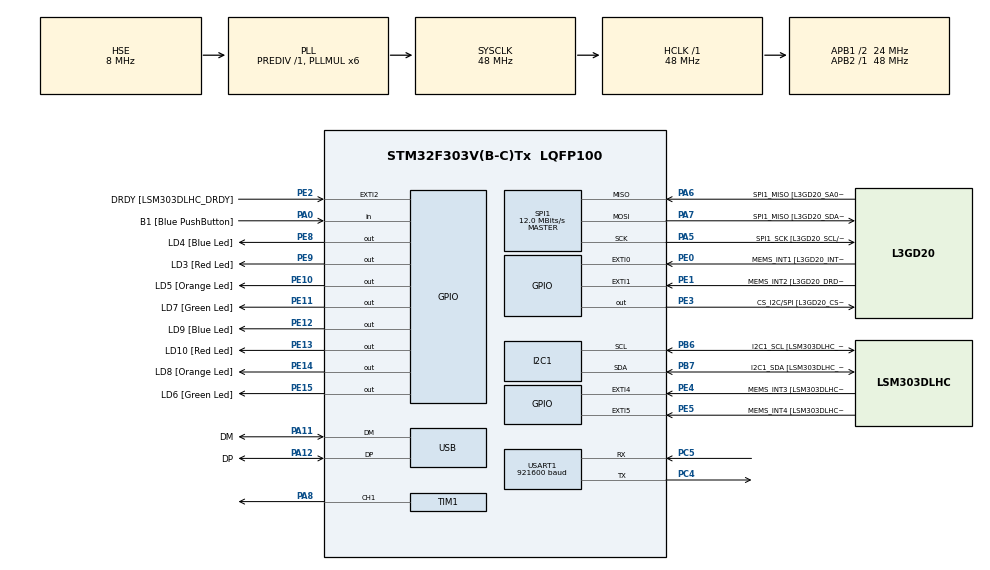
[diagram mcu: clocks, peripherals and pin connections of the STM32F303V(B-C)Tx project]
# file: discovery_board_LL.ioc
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I2C1.Timing=0x2000090E
I2C1.Timing-I2C=0x2000090E
Mcu.Family=STM32F3
Mcu.Name=STM32F303V(B-C)Tx
Mcu.Package=LQFP100
NVIC.PriorityGroup=NVIC_PRIORITYGROUP_0
PA0.GPIO_Label=B1 [Blue PushButton]
PA0.Signal=GPIO_Input
PA11.GPIO_Label=DM
PA11.Mode=Device
PA11.Signal=USB_DM
PA12.GPIO_Label=DP
PA12.Mode=Device
PA12.Signal=USB_DP
PA13.GPIO_Label=SWDIO
PA13.Mode=Serial_Wire
PA13.Signal=SYS_JTMS-SWDIO
PA14.GPIO_Label=SWCLK
PA14.Mode=Serial_Wire
PA14.Signal=SYS_JTCK-SWCLK
PA5.GPIO_Label=SPI1_SCK [L3GD20_SCL/SPC]
PA5.Mode=Full_Duplex_Master
PA5.Signal=SPI1_SCK
PA6.GPIO_Label=SPI1_MISO [L3GD20_SA0/SDO]
PA6.Mode=Full_Duplex_Master
PA6.Signal=SPI1_MISO
PA7.GPIO_Label=SPI1_MISO [L3GD20_SDA/SDI/SDO]
PA7.Mode=Full_Duplex_Master
PA7.Signal=SPI1_MOSI
PA8.Signal=S_TIM1_CH1
PB3.GPIO_Label=SWO
PB3.Signal=SYS_JTDO-TRACESWO
PB6.GPIO_Label=I2C1_SCL [LSM303DLHC_SCL]
PB6.GPIO_Pu=GPIO_PULLUP
PB6.Mode=I2C
PB6.Signal=I2C1_SCL
PB7.GPIO_Label=I2C1_SDA [LSM303DLHC_SDA]
PB7.GPIO_Pu=GPIO_PULLUP
PB7.Mode=I2C
PB7.Signal=I2C1_SDA
PC14-OSC32_IN.GPIO_Label=OSC32_IN
PC14-OSC32_IN.Signal=RCC_OSC32_IN
PC15-OSC32_OUT.GPIO_Label=OSC32_OUT
PC15-OSC32_OUT.Signal=RCC_OSC32_OUT
PC4.Mode=Asynchronous
PC4.Signal=USART1_TX
PC5.Mode=Asynchronous
PC5.Signal=USART1_RX
PE0.GPIO_Label=MEMS_INT1 [L3GD20_INT1]
PE0.GPIO_ModeDefaultEXTI=GPIO_MODE_EVT_RISING
PE0.Signal=GPXTI0
PE1.GPIO_Label=MEMS_INT2 [L3GD20_DRDY/INT2]
PE1.GPIO_ModeDefaultEXTI=GPIO_MODE_EVT_RISING
PE1.Signal=GPXTI1
PE10.GPIO_Label=LD5 [Orange Led]
PE10.Signal=GPIO_Output
PE11.GPIO_Label=LD7 [Green Led]
PE11.Signal=GPIO_Output
PE12.GPIO_Label=LD9 [Blue Led]
PE12.Signal=GPIO_Output
PE13.GPIO_Label=LD10 [Red Led]
PE13.Signal=GPIO_Output
PE14.GPIO_Label=LD8 [Orange Led]
PE14.Signal=GPIO_Output
PE15.GPIO_Label=LD6 [Green Led]
PE15.Signal=GPIO_Output
PE2.GPIO_Label=DRDY [LSM303DLHC_DRDY]
PE2.GPIO_ModeDefaultEXTI=GPIO_MODE_EVT_RISING
PE2.Signal=GPXTI2
PE3.GPIO_Label=CS_I2C/SPI [L3GD20_CS_I2C/SPI]
PE3.Signal=GPIO_Output
PE4.GPIO_Label=MEMS_INT3 [LSM303DLHC_INT1]
PE4.GPIO_ModeDefaultEXTI=GPIO_MODE_EVT_RISING
PE4.Signal=GPXTI4
PE5.GPIO_Label=MEMS_INT4 [LSM303DLHC_INT2]
PE5.GPIO_ModeDefaultEXTI=GPIO_MODE_EVT_RISING
PE5.Signal=GPXTI5
PE8.GPIO_Label=LD4 [Blue Led]
PE8.Signal=GPIO_Output
PE9.GPIO_Label=LD3 [Red Led]
PE9.Signal=GPIO_Output
PF0-OSC_IN.GPIO_Label=OSC_IN
PF0-OSC_IN.Mode=HSE-External-Clock-Source
PF0-OSC_IN.Signal=RCC_OSC_IN
PF1-OSC_OUT.GPIO_Label=OSC_OUT
PF1-OSC_OUT.Signal=RCC_OSC_OUT
ProjectManager.HeapSize=0x200
ProjectManager.StackSize=0x400
ProjectManager.TargetToolchain=STM32CubeIDE
RCC.AHBFreq_Value=48000000
RCC.APB1CLKDivider=RCC_HCLK_DIV2
RCC.APB1Freq_Value=24000000
RCC.APB1TimFreq_Value=48000000
RCC.APB2Freq_Value=48000000
RCC.APB2TimFreq_Value=48000000
RCC.CortexFreq_Value=48000000
RCC.HCLKFreq_Value=48000000
RCC.HSE_VALUE=8000000
RCC.HSI_VALUE=8000000
RCC.LSE_VALUE=32768
RCC.PLLMUL=RCC_PLL_MUL6
RCC.SYSCLKFreq_VALUE=48000000
RCC.SYSCLKSourceVirtual=RCC_SYSCLKSOURCE_PLLCLK
RCC.USBFreq_Value=48000000
SH.S_TIM1_CH1.0=TIM1_CH1,PWM Generation1 CH1
SPI1.BaudRatePrescaler=SPI_BAUDRATEPRESCALER_4
SPI1.BaudRatePrescaler-Full_Duplex_Master=SPI_BAUDRATEPRESCALER_2
SPI1.CalculateBaudRate=12.0 MBits/s
SPI1.CalculateBaudRate-Full_Duplex_Master=24.0 MBits/s
SPI1.Direction=SPI_DIRECTION_2LINES
SPI1.Mode=SPI_MODE_MASTER
SPI1.Mode-Full_Duplex_Master=SPI_MODE_MASTER
SPI1.VirtualType=VM_MASTER
TIM1.Channel-PWM\ Generation1\ CH1=TIM_CHANNEL_1
USART1.BaudRate=921600
USART1.VirtualMode-Asynchronous=VM_ASYNC
VP_TIM1_VS_ClockSourceINT.Mode=Internal
board=STM32F3DISCOVERY

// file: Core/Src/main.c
/* USER CODE BEGIN Header */
/**
  ******************************************************************************
  * @file           : main.c
  * @brief          : Main program body
  ******************************************************************************
  * @attention
  *
  * Copyright (c) 2025 STMicroelectronics.
  * All rights reserved.
  *
  * This software is licensed under terms that can be found in the LICENSE file
  * in the root directory of this software component.
  * If no LICENSE file comes with this software, it is provided AS-IS.
  *
  ******************************************************************************
  */
/* USER CODE END Header */
#include "main.h"

/* USER CODE BEGIN Includes */
#include <stdio.h>
#include "LL.h"
/* USER CODE END Includes */

I2C_HandleTypeDef hi2c1;

SPI_HandleTypeDef hspi1;

TIM_HandleTypeDef htim1;

UART_HandleTypeDef huart1;

PCD_HandleTypeDef hpcd_USB_FS;

void SystemClock_Config(void);
static void MX_GPIO_Init(void);
static void MX_I2C1_Init(void);
static void MX_SPI1_Init(void);
static void MX_USB_PCD_Init(void);
static void MX_USART1_UART_Init(void);
static void MX_TIM1_Init(void);

/* USER CODE BEGIN 0 */

// Send printf to uart1
int _write(int fd, char* ptr, int len) {
  HAL_StatusTypeDef hstatus;

  if (fd == 1 || fd == 2) {
    hstatus = HAL_UART_Transmit(&huart1, (uint8_t *) ptr, len, HAL_MAX_DELAY);
    if (hstatus == HAL_OK)
      return len;
    else
      return -1;
  }
  return -1;
}

/* USER CODE END 0 */

int main(void)
{

  /* MCU Configuration--------------------------------------------------------*/

  /* Reset of all peripherals, Initializes the Flash interface and the Systick. */
  HAL_Init();

  /* Configure the system clock */
  SystemClock_Config();

  /* Initialize all configured peripherals */
  MX_GPIO_Init();
  MX_I2C1_Init();
  MX_SPI1_Init();
  MX_USB_PCD_Init();
  MX_USART1_UART_Init();
  MX_TIM1_Init();
  /* USER CODE BEGIN 2 */

  printf("\n\n\nLL starting\n");

  // PE9 kot AF2 (TIM1_CH1)
  ll_gpioe_led_pe9_init();

  // TIM1 PWM @ 1 Hz, ~50% duty
  ll_tim1_ch1_pwm_init_1Hz();
  ll_tim1_ch1_pwm_start();

  /* USER CODE END 2 */

  /* Infinite loop */
  /* USER CODE BEGIN WHILE */

  while (1)
  {
      // Bonus: spreminjaj duty (diha)
      for (uint32_t d=0; d<=TIM1->ARR; d+=10) {
          ll_tim1_ch1_set_ccr1(d);
          for (volatile uint32_t i=0;i<20000;i++) __NOP();
      }
      for (int32_t d=TIM1->ARR; d>=0; d-=10) {
          ll_tim1_ch1_set_ccr1((uint32_t)d);
          for (volatile uint32_t i=0;i<20000;i++) __NOP();
      }
    /* USER CODE END WHILE */

  }
}

void SystemClock_Config(void)
{
  RCC_OscInitTypeDef RCC_OscInitStruct = {0};
  RCC_ClkInitTypeDef RCC_ClkInitStruct = {0};
  RCC_PeriphCLKInitTypeDef PeriphClkInit = {0};

  /** Initializes the RCC Oscillators according to the specified parameters
  * in the RCC_OscInitTypeDef structure.
  */
  RCC_OscInitStruct.OscillatorType = RCC_OSCILLATORTYPE_HSI|RCC_OSCILLATORTYPE_HSE;
  RCC_OscInitStruct.HSEState = RCC_HSE_BYPASS;
  RCC_OscInitStruct.HSEPredivValue = RCC_HSE_PREDIV_DIV1;
  RCC_OscInitStruct.HSIState = RCC_HSI_ON;
  RCC_OscInitStruct.HSICalibrationValue = RCC_HSICALIBRATION_DEFAULT;
  RCC_OscInitStruct.PLL.PLLState = RCC_PLL_ON;
  RCC_OscInitStruct.PLL.PLLSource = RCC_PLLSOURCE_HSE;
  RCC_OscInitStruct.PLL.PLLMUL = RCC_PLL_MUL6;
  if (HAL_RCC_OscConfig(&RCC_OscInitStruct) != HAL_OK)
  {
    Error_Handler();
  }

  /** Initializes the CPU, AHB and APB buses clocks
  */
  RCC_ClkInitStruct.ClockType = RCC_CLOCKTYPE_HCLK|RCC_CLOCKTYPE_SYSCLK
                              |RCC_CLOCKTYPE_PCLK1|RCC_CLOCKTYPE_PCLK2;
  RCC_ClkInitStruct.SYSCLKSource = RCC_SYSCLKSOURCE_PLLCLK;
  RCC_ClkInitStruct.AHBCLKDivider = RCC_SYSCLK_DIV1;
  RCC_ClkInitStruct.APB1CLKDivider = RCC_HCLK_DIV2;
  RCC_ClkInitStruct.APB2CLKDivider = RCC_HCLK_DIV1;

  if (HAL_RCC_ClockConfig(&RCC_ClkInitStruct, FLASH_LATENCY_1) != HAL_OK)
  {
    Error_Handler();
  }
  PeriphClkInit.PeriphClockSelection = RCC_PERIPHCLK_USB|RCC_PERIPHCLK_USART1
                              |RCC_PERIPHCLK_I2C1|RCC_PERIPHCLK_TIM1;
  PeriphClkInit.Usart1ClockSelection = RCC_USART1CLKSOURCE_PCLK2;
  PeriphClkInit.I2c1ClockSelection = RCC_I2C1CLKSOURCE_HSI;
  PeriphClkInit.USBClockSelection = RCC_USBCLKSOURCE_PLL;
  PeriphClkInit.Tim1ClockSelection = RCC_TIM1CLK_HCLK;
  if (HAL_RCCEx_PeriphCLKConfig(&PeriphClkInit) != HAL_OK)
  {
    Error_Handler();
  }
}

static void MX_I2C1_Init(void)
{

  hi2c1.Instance = I2C1;
  hi2c1.Init.Timing = 0x2000090E;
  hi2c1.Init.OwnAddress1 = 0;
  hi2c1.Init.AddressingMode = I2C_ADDRESSINGMODE_7BIT;
  hi2c1.Init.DualAddressMode = I2C_DUALADDRESS_DISABLE;
  hi2c1.Init.OwnAddress2 = 0;
  hi2c1.Init.OwnAddress2Masks = I2C_OA2_NOMASK;
  hi2c1.Init.GeneralCallMode = I2C_GENERALCALL_DISABLE;
  hi2c1.Init.NoStretchMode = I2C_NOSTRETCH_DISABLE;
  if (HAL_I2C_Init(&hi2c1) != HAL_OK)
  {
    Error_Handler();
  }

  /** Configure Analogue filter
  */
  if (HAL_I2CEx_ConfigAnalogFilter(&hi2c1, I2C_ANALOGFILTER_ENABLE) != HAL_OK)
  {
    Error_Handler();
  }

  /** Configure Digital filter
  */
  if (HAL_I2CEx_ConfigDigitalFilter(&hi2c1, 0) != HAL_OK)
  {
    Error_Handler();
  }

}

static void MX_SPI1_Init(void)
{

  /* SPI1 parameter configuration*/
  hspi1.Instance = SPI1;
  hspi1.Init.Mode = SPI_MODE_MASTER;
  hspi1.Init.Direction = SPI_DIRECTION_2LINES;
  hspi1.Init.DataSize = SPI_DATASIZE_4BIT;
  hspi1.Init.CLKPolarity = SPI_POLARITY_LOW;
  hspi1.Init.CLKPhase = SPI_PHASE_1EDGE;
  hspi1.Init.NSS = SPI_NSS_SOFT;
  hspi1.Init.BaudRatePrescaler = SPI_BAUDRATEPRESCALER_4;
  hspi1.Init.FirstBit = SPI_FIRSTBIT_MSB;
  hspi1.Init.TIMode = SPI_TIMODE_DISABLE;
  hspi1.Init.CRCCalculation = SPI_CRCCALCULATION_DISABLE;
  hspi1.Init.CRCPolynomial = 7;
  hspi1.Init.CRCLength = SPI_CRC_LENGTH_DATASIZE;
  hspi1.Init.NSSPMode = SPI_NSS_PULSE_ENABLE;
  if (HAL_SPI_Init(&hspi1) != HAL_OK)
  {
    Error_Handler();
  }

}

static void MX_TIM1_Init(void)
{

  TIM_ClockConfigTypeDef sClockSourceConfig = {0};
  TIM_MasterConfigTypeDef sMasterConfig = {0};
  TIM_OC_InitTypeDef sConfigOC = {0};
  TIM_BreakDeadTimeConfigTypeDef sBreakDeadTimeConfig = {0};

  htim1.Instance = TIM1;
  htim1.Init.Prescaler = 0;
  htim1.Init.CounterMode = TIM_COUNTERMODE_UP;
  htim1.Init.Period = 65535;
  htim1.Init.ClockDivision = TIM_CLOCKDIVISION_DIV1;
  htim1.Init.RepetitionCounter = 0;
  htim1.Init.AutoReloadPreload = TIM_AUTORELOAD_PRELOAD_DISABLE;
  if (HAL_TIM_Base_Init(&htim1) != HAL_OK)
  {
    Error_Handler();
  }
  sClockSourceConfig.ClockSource = TIM_CLOCKSOURCE_INTERNAL;
  if (HAL_TIM_ConfigClockSource(&htim1, &sClockSourceConfig) != HAL_OK)
  {
    Error_Handler();
  }
  if (HAL_TIM_PWM_Init(&htim1) != HAL_OK)
  {
    Error_Handler();
  }
  sMasterConfig.MasterOutputTrigger = TIM_TRGO_RESET;
  sMasterConfig.MasterOutputTrigger2 = TIM_TRGO2_RESET;
  sMasterConfig.MasterSlaveMode = TIM_MASTERSLAVEMODE_DISABLE;
  if (HAL_TIMEx_MasterConfigSynchronization(&htim1, &sMasterConfig) != HAL_OK)
  {
    Error_Handler();
  }
  sConfigOC.OCMode = TIM_OCMODE_PWM1;
  sConfigOC.Pulse = 0;
  sConfigOC.OCPolarity = TIM_OCPOLARITY_HIGH;
  sConfigOC.OCNPolarity = TIM_OCNPOLARITY_HIGH;
  sConfigOC.OCFastMode = TIM_OCFAST_DISABLE;
  sConfigOC.OCIdleState = TIM_OCIDLESTATE_RESET;
  sConfigOC.OCNIdleState = TIM_OCNIDLESTATE_RESET;
  if (HAL_TIM_PWM_ConfigChannel(&htim1, &sConfigOC, TIM_CHANNEL_1) != HAL_OK)
  {
    Error_Handler();
  }
  sBreakDeadTimeConfig.OffStateRunMode = TIM_OSSR_DISABLE;
  sBreakDeadTimeConfig.OffStateIDLEMode = TIM_OSSI_DISABLE;
  sBreakDeadTimeConfig.LockLevel = TIM_LOCKLEVEL_OFF;
  sBreakDeadTimeConfig.DeadTime = 0;
  sBreakDeadTimeConfig.BreakState = TIM_BREAK_DISABLE;
  sBreakDeadTimeConfig.BreakPolarity = TIM_BREAKPOLARITY_HIGH;
  sBreakDeadTimeConfig.BreakFilter = 0;
  sBreakDeadTimeConfig.Break2State = TIM_BREAK2_DISABLE;
  sBreakDeadTimeConfig.Break2Polarity = TIM_BREAK2POLARITY_HIGH;
  sBreakDeadTimeConfig.Break2Filter = 0;
  sBreakDeadTimeConfig.AutomaticOutput = TIM_AUTOMATICOUTPUT_DISABLE;
  if (HAL_TIMEx_ConfigBreakDeadTime(&htim1, &sBreakDeadTimeConfig) != HAL_OK)
  {
    Error_Handler();
  }
  HAL_TIM_MspPostInit(&htim1);

}

static void MX_USART1_UART_Init(void)
{

  huart1.Instance = USART1;
  huart1.Init.BaudRate = 921600;
  huart1.Init.WordLength = UART_WORDLENGTH_8B;
  huart1.Init.StopBits = UART_STOPBITS_1;
  huart1.Init.Parity = UART_PARITY_NONE;
  huart1.Init.Mode = UART_MODE_TX_RX;
  huart1.Init.HwFlowCtl = UART_HWCONTROL_NONE;
  huart1.Init.OverSampling = UART_OVERSAMPLING_16;
  huart1.Init.OneBitSampling = UART_ONE_BIT_SAMPLE_DISABLE;
  huart1.AdvancedInit.AdvFeatureInit = UART_ADVFEATURE_NO_INIT;
  if (HAL_UART_Init(&huart1) != HAL_OK)
  {
    Error_Handler();
  }

}

static void MX_USB_PCD_Init(void)
{

  hpcd_USB_FS.Instance = USB;
  hpcd_USB_FS.Init.dev_endpoints = 8;
  hpcd_USB_FS.Init.speed = PCD_SPEED_FULL;
  hpcd_USB_FS.Init.phy_itface = PCD_PHY_EMBEDDED;
  hpcd_USB_FS.Init.low_power_enable = DISABLE;
  hpcd_USB_FS.Init.battery_charging_enable = DISABLE;
  if (HAL_PCD_Init(&hpcd_USB_FS) != HAL_OK)
  {
    Error_Handler();
  }

}

static void MX_GPIO_Init(void)
{
  GPIO_InitTypeDef GPIO_InitStruct = {0};

  /* GPIO Ports Clock Enable */
  __HAL_RCC_GPIOE_CLK_ENABLE();
  __HAL_RCC_GPIOC_CLK_ENABLE();
  __HAL_RCC_GPIOF_CLK_ENABLE();
  __HAL_RCC_GPIOA_CLK_ENABLE();
  __HAL_RCC_GPIOB_CLK_ENABLE();

  /*Configure GPIO pin Output Level */
  HAL_GPIO_WritePin(GPIOE, CS_I2C_SPI_Pin|LD4_Pin|LD3_Pin|LD5_Pin
                          |LD7_Pin|LD9_Pin|LD10_Pin|LD8_Pin
                          |LD6_Pin, GPIO_PIN_RESET);

  /*Configure GPIO pins : DRDY_Pin MEMS_INT3_Pin MEMS_INT4_Pin MEMS_INT1_Pin
                           MEMS_INT2_Pin */
  GPIO_InitStruct.Pin = DRDY_Pin|MEMS_INT3_Pin|MEMS_INT4_Pin|MEMS_INT1_Pin
                          |MEMS_INT2_Pin;
  GPIO_InitStruct.Mode = GPIO_MODE_EVT_RISING;
  GPIO_InitStruct.Pull = GPIO_NOPULL;
  HAL_GPIO_Init(GPIOE, &GPIO_InitStruct);

  /*Configure GPIO pins : CS_I2C_SPI_Pin LD4_Pin LD3_Pin LD5_Pin
                           LD7_Pin LD9_Pin LD10_Pin LD8_Pin
                           LD6_Pin */
  GPIO_InitStruct.Pin = CS_I2C_SPI_Pin|LD4_Pin|LD3_Pin|LD5_Pin
                          |LD7_Pin|LD9_Pin|LD10_Pin|LD8_Pin
                          |LD6_Pin;
  GPIO_InitStruct.Mode = GPIO_MODE_OUTPUT_PP;
  GPIO_InitStruct.Pull = GPIO_NOPULL;
  GPIO_InitStruct.Speed = GPIO_SPEED_FREQ_LOW;
  HAL_GPIO_Init(GPIOE, &GPIO_InitStruct);

  /*Configure GPIO pin : B1_Pin */
  GPIO_InitStruct.Pin = B1_Pin;
  GPIO_InitStruct.Mode = GPIO_MODE_INPUT;
  GPIO_InitStruct.Pull = GPIO_NOPULL;
  HAL_GPIO_Init(B1_GPIO_Port, &GPIO_InitStruct);

}

void Error_Handler(void)
{
  __disable_irq();
  while (1)
  {
  }
}
